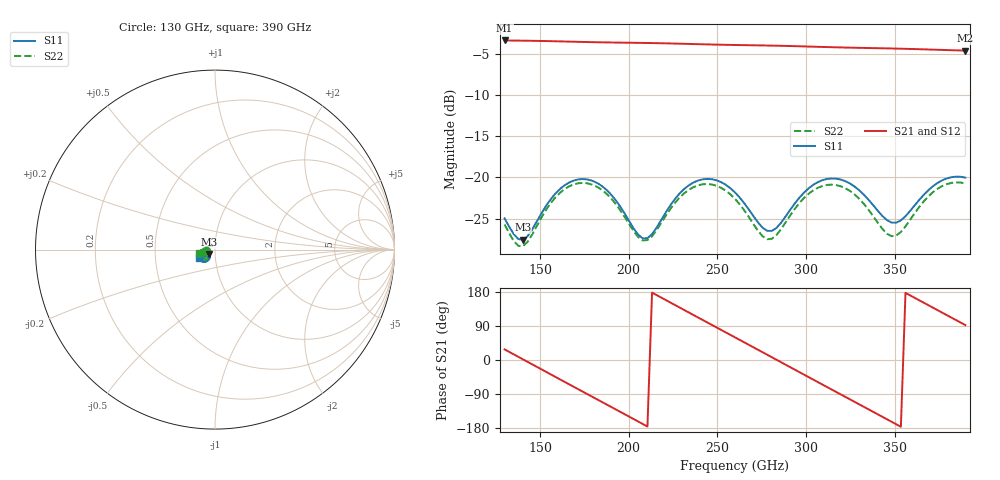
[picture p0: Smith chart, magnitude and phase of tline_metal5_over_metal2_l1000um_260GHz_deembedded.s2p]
! Created with skrf 2.0.1 (http://scikit-rf.org).
# GHz S DB R 50.0
!freq dBS11 angS11 dBS21 angS21 dBS12 angS12 dBS22 angS22
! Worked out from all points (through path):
!   101 points, 130 GHz to 390 GHz, reference 50 ohm
!   highest |S21| = -3.42 dB at 130 GHz (marker M1); lowest = -4.6 dB at 390 GHz (marker M2)
!   group delay of S21, straight-line fit = 7.01 ps
!   lowest |S11| = -27.6 dB at 140.4 GHz (marker M3), VSWR 1.09, Z = 46.8 - j2.45 ohm
!   |S11| at or under -10 dB: start of sweep to end of sweep
!   |S22| runs from -28.4 to -20.6 dB; largest |S21 - S12| = 1.1e-13
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130  -24.98 -166.7  -3.42 27.9  -3.42 27.9  -25.72 -173.1
140.4  -27.57 -141.3  -3.44 1.7  -3.44 1.7  -28.35 -146.1
156  -22.67 -123.1  -3.50 -37.8  -3.50 -37.8  -23.14 -129.2
174.2  -20.22 -146.4  -3.60 -83.8  -3.60 -83.8  -20.68 -154.1
187.2  -21.47 -164.2  -3.65 -116.5  -3.65 -116.5  -21.94 -172.7
200.2  -25.28 -168.2  -3.69 -149.3  -3.69 -149.3  -25.66 -177.2
208  -27.42 -150.7  -3.71 -169.0  -3.71 -169.0  -27.65 -160.9
218.4  -25.16 -125.3  -3.75 164.7  -3.75 164.7  -25.51 -137.7
239.2  -20.39 -139.0  -3.87 112.1  -3.87 112.1  -20.97 -152.8
249.6  -20.37 -153.2  -3.92 85.9  -3.92 85.9  -21.03 -167.6
260  -21.84 -164.6  -3.96 59.8  -3.96 59.8  -22.61 -179.7
275.6  -26.12 -156.8  -4.02 20.4  -4.02 20.4  -27.15 -171.3
283.4  -26.14 -136.4  -4.05 0.7  -4.05 0.7  -27.00 -149.9
293.8  -23.16 -125.6  -4.11 -25.6  -4.11 -25.6  -23.82 -140.5
304.2  -20.91 -132.4  -4.17 -51.9  -4.17 -51.9  -21.58 -148.8
314.6  -20.14 -144.7  -4.23 -78.1  -4.23 -78.1  -20.89 -162.4
325  -20.77 -156.7  -4.29 -104.2  -4.29 -104.2  -21.68 -175.7
335.4  -22.74 -163.0  -4.33 -130.4  -4.33 -130.4  -23.95 177.3
348.4  -25.49 -148.4  -4.39 -163.1  -4.39 -163.1  -27.14 -164.6
366.6  -22.10 -127.6  -4.49 150.9  -4.49 150.9  -22.90 -143.1
379.6  -20.13 -138.2  -4.58 118.2  -4.58 118.2  -20.82 -156.0
390  -20.04 -150.2  -4.65 92.1  -4.65 92.1  -20.76 -169.4
